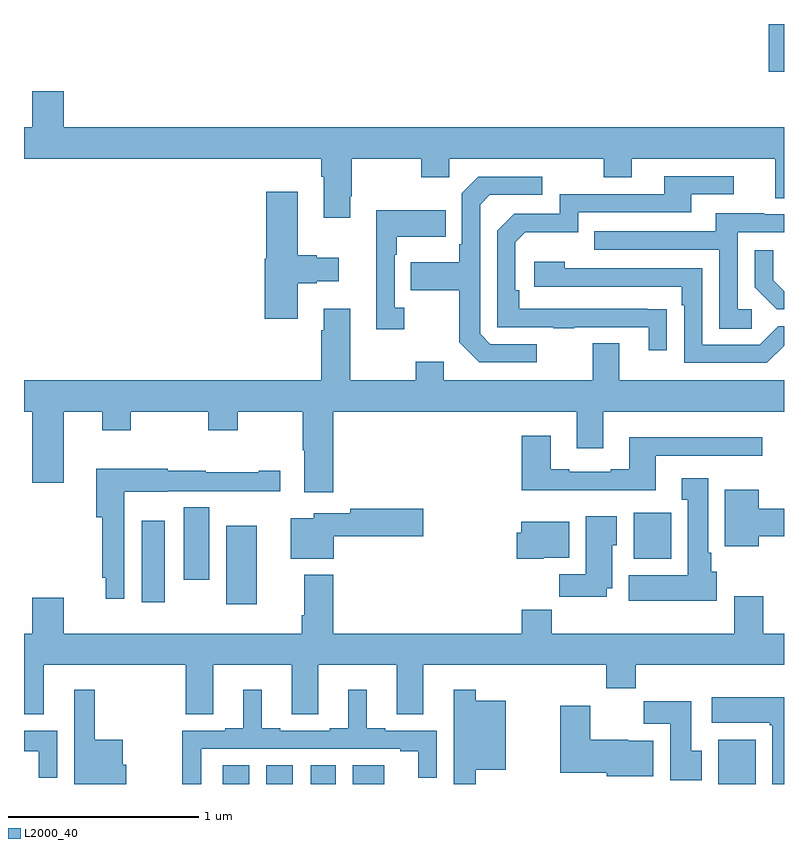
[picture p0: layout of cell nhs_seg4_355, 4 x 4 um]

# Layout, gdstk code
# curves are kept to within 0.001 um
import gdstk
lib = gdstk.Library(unit=1e-6, precision=1e-09)
def R(c, l, rs):  # rectangles x0, y0, x1, y1
    for r in rs: c.add(gdstk.rectangle(r[:2], r[2:], *l))
def P(c, l, *ps):  # polygons
    for p in ps: c.add(gdstk.Polygon(p, *l))
L2000_40 = (2000, 40)

nhs_seg4_355 = lib.new_cell('nhs_seg4_355')
R(nhs_seg4_355, L2000_40, [(130.046,754.9,130.186,755), (130.274,754.9,130.414,755), (130.508,754.9,130.642,755), (130.73,754.9,130.897,755), (132.653,754.9,132.85,755.134), (130.064,755.847,130.225,756.259), (129.62,755.856,129.742,756.286), (129.842,755.976,129.976,756.356), (132.209,756.086,132.406,756.328), (132.92,758.65,133,758.9)])
P(nhs_seg4_355, L2000_40, [(130.717,757.993),(130.725,757.993),(130.725,758.192),(131.092,758.192),(131.092,758.093),(131.238,758.093),(131.238,758.192),(132.052,758.192),(132.052,758.093),(132.199,758.093),(132.199,758.192),(132.953,758.192),(132.953,757.984),(133,757.984),(133,758.356),(129.208,758.356),(129.208,758.545),(129.044,758.545),(129.044,758.356),(129,758.356),(129,758.192),(130.565,758.192),(130.565,758.096),(130.577,758.096),(130.577,757.881),(130.717,757.881)],
  [(132.383,757.4),(131.606,757.401),(131.606,757.498),(131.586,757.498),(131.586,757.752),(131.639,757.805),(131.916,757.805),(131.916,757.908),(132.511,757.908),(132.511,758.004),(132.736,758.004),(132.736,758.1),(132.371,758.1),(132.371,758.004),(131.82,758.004),(131.82,757.902),(131.58,757.902),(131.49,757.812),(131.49,757.305),(131.785,757.305),(131.785,757.3),(131.897,757.3),(131.897,757.305),(132.287,757.305),(132.287,757.182),(132.383,757.182)],
  [(131.698,757.215),(131.454,757.215),(131.4,757.269),(131.4,757.95),(131.451,758.001),(131.728,758.001),(131.728,758.097),(131.391,758.097),(131.304,758.01),(131.304,757.741),(131.292,757.741),(131.292,757.645),(131.035,757.645),(131.035,757.498),(131.292,757.498),(131.292,757.225),(131.397,757.119),(131.698,757.119)],
  [(130.441,757.535),(130.541,757.535),(130.541,757.547),(130.657,757.547),(130.657,757.669),(130.541,757.669),(130.541,757.682),(130.441,757.682),(130.441,758.017),(130.274,758.017),(130.274,757.665),(130.268,757.665),(130.268,757.35),(130.441,757.35)],
  [(131.002,757.406),(130.95,757.406),(130.95,757.685),(130.963,757.685),(130.963,757.781),(131.219,757.781),(131.219,757.921),(130.853,757.921),(130.853,757.293),(131.002,757.293)],
  [(132.829,757.398),(132.756,757.398),(132.756,757.803),(133,757.803),(133,757.899),(132.895,757.899),(132.895,757.903),(132.641,757.903),(132.641,757.809),(132.001,757.809),(132.001,757.713),(132.66,757.713),(132.66,757.297),(132.829,757.297)],
  [(133,757.494),(132.943,757.551),(132.943,757.708),(132.846,757.708),(132.846,757.514),(132.962,757.398),(133,757.398)],
  [(133,757.207),(133,757.308),(132.969,757.308),(132.873,757.212),(132.57,757.212),(132.57,757.614),(131.846,757.614),(131.846,757.648),(131.685,757.648),(131.685,757.518),(132.461,757.518),(132.461,757.421),(132.474,757.421),(132.474,757.116),(132.909,757.116)],
  [(130.628,756.86),(131.909,756.86),(131.909,756.666),(132.049,756.666),(132.049,756.86),(133,756.86),(133,757.024),(132.133,757.024),(132.133,757.219),(131.993,757.219),(131.993,757.024),(131.209,757.024),(131.209,757.123),(131.062,757.123),(131.062,757.024),(130.717,757.024),(130.717,757.402),(130.577,757.402),(130.577,757.289),(130.565,757.289),(130.565,757.024),(129,757.024),(129,756.86),(129.044,756.86),(129.044,756.486),(129.208,756.486),(129.208,756.86),(129.413,756.86),(129.413,756.761),(129.561,756.761),(129.561,756.86),(129.97,756.86),(129.97,756.761),(130.125,756.761),(130.125,756.86),(130.468,756.86),(130.468,756.656),(130.475,756.656),(130.475,756.435),(130.628,756.435)],
  [(132.325,756.627),(132.886,756.627),(132.886,756.724),(132.185,756.724),(132.185,756.556),(132.089,756.556),(132.089,756.543),(131.869,756.543),(131.869,756.556),(131.773,756.556),(131.773,756.733),(131.621,756.733),(131.621,756.446),(132.325,756.446)],
  [(129.528,756.437),(129.756,756.437),(129.756,756.441),(130.072,756.441),(130.072,756.44),(130.348,756.44),(130.348,756.55),(130.235,756.55),(130.235,756.54),(129.956,756.54),(129.956,756.55),(129.756,756.55),(129.756,756.559),(129.38,756.559),(129.38,756.305),(129.412,756.305),(129.412,755.986),(129.43,755.986),(129.43,755.874),(129.528,755.874)],
  [(132.646,756.018),(132.616,756.018),(132.616,756.118),(132.601,756.118),(132.601,756.508),(132.461,756.508),(132.461,756.395),(132.494,756.395),(132.494,755.998),(132.182,755.998),(132.182,755.864),(132.646,755.864)],
  [(132.868,756.203),(133,756.203),(133,756.35),(132.868,756.35),(132.868,756.448),(132.689,756.448),(132.689,756.152),(132.868,756.152)],
  [(130.63,756.203),(131.101,756.203),(131.101,756.35),(130.716,756.35),(130.716,756.325),(130.524,756.325),(130.524,756.298),(130.403,756.298),(130.403,756.086),(130.63,756.086)],
  [(132.067,755.93),(132.097,755.93),(132.097,756.156),(132.121,756.156),(132.121,756.31),(131.957,756.31),(131.957,756.004),(131.818,756.004),(131.818,755.886),(132.067,755.886)],
  [(131.736,756.092),(131.869,756.092),(131.869,756.28),(131.618,756.28),(131.618,756.222),(131.593,756.222),(131.593,756.086),(131.736,756.086)],
  [(129.103,755.528),(129.85,755.528),(129.85,755.266),(129.997,755.266),(129.997,755.528),(130.409,755.528),(130.409,755.266),(130.549,755.266),(130.549,755.528),(130.961,755.528),(130.961,755.266),(131.101,755.266),(131.101,755.528),(132.065,755.528),(132.065,755.404),(132.221,755.404),(132.221,755.528),(133,755.528),(133,755.692),(132.89,755.692),(132.89,755.887),(132.737,755.887),(132.737,755.692),(131.777,755.692),(131.777,755.816),(131.621,755.816),(131.621,755.692),(130.628,755.692),(130.628,756.001),(130.475,756.001),(130.475,755.788),(130.463,755.788),(130.463,755.692),(129.208,755.692),(129.208,755.881),(129.044,755.881),(129.044,755.692),(129,755.692),(129,755.266),(129.103,755.266)],
  [(131.378,754.976),(131.536,754.976),(131.536,755.338),(131.378,755.338),(131.378,755.395),(131.262,755.395),(131.262,754.9),(131.378,754.9)],
  [(129.538,755.001),(129.52,755.001),(129.52,755.134),(129.373,755.134),(129.373,755.395),(129.264,755.395),(129.264,754.9),(129.538,754.9)],
  [(129.933,755.085),(130.979,755.085),(130.979,755.073),(131.075,755.073),(131.075,754.932),(131.172,754.932),(131.172,755.181),(130.9,755.181),(130.9,755.194),(130.804,755.194),(130.804,755.395),(130.706,755.395),(130.706,755.194),(130.61,755.194),(130.61,755.181),(130.348,755.181),(130.348,755.194),(130.252,755.194),(130.252,755.395),(130.154,755.395),(130.154,755.194),(130.058,755.194),(130.058,755.181),(129.832,755.181),(129.832,754.9),(129.933,754.9)],
  [(133,755.356),(132.621,755.356),(132.621,755.222),(132.925,755.222),(132.925,755.209),(132.938,755.209),(132.938,754.9),(133,754.9)],
  [(132.568,755.076),(132.511,755.076),(132.511,755.335),(132.262,755.335),(132.262,755.216),(132.401,755.216),(132.401,754.92),(132.568,754.92)],
  [(132.313,755.128),(132.18,755.128),(132.18,755.134),(131.98,755.134),(131.98,755.311),(131.822,755.311),(131.822,754.958),(132.066,754.958),(132.066,754.94),(132.313,754.94)],
  [(129.174,755.181),(129,755.181),(129,755.073),(129.077,755.073),(129.077,754.932),(129.174,754.932)])

lib.write_gds('nhs_seg4_355.gds')
